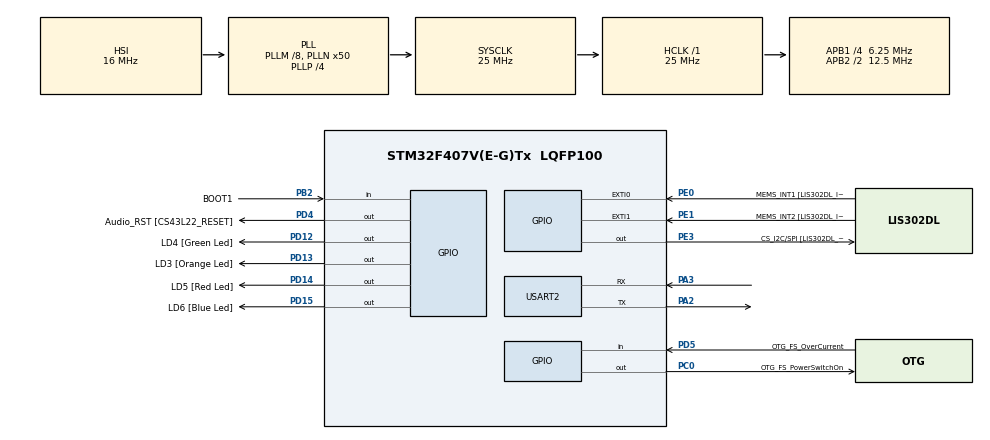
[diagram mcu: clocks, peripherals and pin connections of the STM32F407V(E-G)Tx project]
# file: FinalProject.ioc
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Mcu.Family=STM32F4
Mcu.Name=STM32F407V(E-G)Tx
Mcu.Package=LQFP100
NVIC.PriorityGroup=NVIC_PRIORITYGROUP_0
PA10.GPIO_Label=OTG_FS_ID
PA10.GPIO_Mode=GPIO_MODE_AF_PP
PA10.GPIO_PuPd=GPIO_NOPULL
PA10.GPIO_Speed=GPIO_SPEED_FREQ_LOW
PA10.Signal=USB_OTG_FS_ID
PA11.GPIO_Label=OTG_FS_DM
PA11.GPIO_Mode=GPIO_MODE_AF_PP
PA11.GPIO_PuPd=GPIO_NOPULL
PA11.GPIO_Speed=GPIO_SPEED_FREQ_LOW
PA11.Signal=USB_OTG_FS_DM
PA12.GPIO_Label=OTG_FS_DP
PA12.GPIO_Mode=GPIO_MODE_AF_PP
PA12.GPIO_PuPd=GPIO_NOPULL
PA12.GPIO_Speed=GPIO_SPEED_FREQ_LOW
PA12.Signal=USB_OTG_FS_DP
PA13.GPIO_Label=SWDIO
PA13.Signal=SYS_JTMS-SWDIO
PA14.GPIO_Label=SWCLK
PA14.Signal=SYS_JTCK-SWCLK
PA2.Mode=Asynchronous
PA2.Signal=USART2_TX
PA3.Mode=Asynchronous
PA3.Signal=USART2_RX
PA4.GPIO_Label=I2S3_WS [CS43L22_LRCK]
PA4.GPIO_Mode=GPIO_MODE_AF_PP
PA4.GPIO_PuPd=GPIO_NOPULL
PA4.GPIO_Speed=GPIO_SPEED_FREQ_LOW
PA4.Signal=I2S3_WS
PA5.GPIO_Label=SPI1_SCK [LIS302DL_SCL/SPC]
PA5.GPIO_Mode=GPIO_MODE_AF_PP
PA5.GPIO_PuPd=GPIO_NOPULL
PA5.GPIO_Speed=GPIO_SPEED_FREQ_LOW
PA5.Signal=SPI1_SCK
PA6.GPIO_Label=SPI1_MISO [LIS302DL_SDO]
PA6.GPIO_Mode=GPIO_MODE_AF_PP
PA6.GPIO_PuPd=GPIO_NOPULL
PA6.GPIO_Speed=GPIO_SPEED_FREQ_LOW
PA6.Signal=SPI1_MISO
PA7.GPIO_Label=SPI1_MOSI [LIS302DL_SDA/SDI/SDO]
PA7.GPIO_Mode=GPIO_MODE_AF_PP
PA7.GPIO_PuPd=GPIO_NOPULL
PA7.GPIO_Speed=GPIO_SPEED_FREQ_LOW
PA7.Signal=SPI1_MOSI
PA9.GPIO_Label=VBUS_FS
PA9.GPIO_Mode=GPIO_MODE_INPUT
PA9.GPIO_PuPd=GPIO_NOPULL
PA9.Signal=USB_OTG_FS_VBUS
PB10.GPIO_Label=CLK_IN [MP45DT02_CLK]
PB10.GPIO_Mode=GPIO_MODE_AF_PP
PB10.GPIO_PuPd=GPIO_NOPULL
PB10.GPIO_Speed=GPIO_SPEED_FREQ_LOW
PB10.Signal=I2S2_CK
PB2.GPIO_Label=BOOT1
PB2.GPIO_Mode=GPIO_MODE_INPUT
PB2.GPIO_PuPd=GPIO_NOPULL
PB2.Signal=GPIO_Input
PB3.GPIO_Label=SWO
PB3.Signal=SYS_JTDO-SWO
PB6.GPIO_Label=Audio_SCL [CS43L22_SCL]
PB6.GPIO_Mode=GPIO_MODE_AF_OD
PB6.GPIO_PuPd=GPIO_NOPULL
PB6.GPIO_Speed=GPIO_SPEED_FREQ_LOW
PB6.Signal=I2C1_SCL
PB9.GPIO_Label=Audio_SDA [CS43L22_SDA]
PB9.GPIO_Mode=GPIO_MODE_AF_OD
PB9.GPIO_PuPd=GPIO_NOPULL
PB9.GPIO_Speed=GPIO_SPEED_FREQ_LOW
PB9.Signal=I2C1_SDA
PC0.GPIO_Label=OTG_FS_PowerSwitchOn
PC0.GPIO_PuPd=GPIO_NOPULL
PC0.GPIO_Speed=GPIO_SPEED_FREQ_LOW
PC0.PinState=GPIO_PIN_SET
PC0.Signal=GPIO_Output
PC10.GPIO_Label=I2S3_SCK [CS43L22_SCLK]
PC10.GPIO_Mode=GPIO_MODE_AF_PP
PC10.GPIO_PuPd=GPIO_NOPULL
PC10.GPIO_Speed=GPIO_SPEED_FREQ_LOW
PC10.Signal=I2S3_CK
PC12.GPIO_Label=I2S3_SD [CS43L22_SDIN]
PC12.GPIO_Mode=GPIO_MODE_AF_PP
PC12.GPIO_PuPd=GPIO_NOPULL
PC12.GPIO_Speed=GPIO_SPEED_FREQ_LOW
PC12.Signal=I2S3_SD
PC14-OSC32_IN.GPIO_Label=PC14-OSC32_IN
PC14-OSC32_IN.Signal=RCC_OSC32_IN
PC15-OSC32_OUT.GPIO_Label=PC15-OSC32_OUT
PC15-OSC32_OUT.Signal=RCC_OSC32_OUT
PC3.GPIO_Label=PDM_OUT [MP45DT02_DOUT]
PC3.GPIO_Mode=GPIO_MODE_AF_PP
PC3.GPIO_PuPd=GPIO_NOPULL
PC3.GPIO_Speed=GPIO_SPEED_FREQ_LOW
PC3.Signal=I2S2_SD
PC7.GPIO_Label=I2S3_MCK [CS43L22_MCLK]
PC7.GPIO_Mode=GPIO_MODE_AF_PP
PC7.GPIO_PuPd=GPIO_NOPULL
PC7.GPIO_Speed=GPIO_SPEED_FREQ_LOW
PC7.Signal=I2S3_MCK
PD12.GPIO_Label=LD4 [Green Led]
PD12.GPIO_PuPd=GPIO_NOPULL
PD12.GPIO_Speed=GPIO_SPEED_FREQ_LOW
PD12.Signal=GPIO_Output
PD13.GPIO_Label=LD3 [Orange Led]
PD13.GPIO_PuPd=GPIO_NOPULL
PD13.GPIO_Speed=GPIO_SPEED_FREQ_LOW
PD13.Signal=GPIO_Output
PD14.GPIO_Label=LD5 [Red Led]
PD14.GPIO_PuPd=GPIO_NOPULL
PD14.GPIO_Speed=GPIO_SPEED_FREQ_LOW
PD14.Signal=GPIO_Output
PD15.GPIO_Label=LD6 [Blue Led]
PD15.GPIO_PuPd=GPIO_NOPULL
PD15.GPIO_Speed=GPIO_SPEED_FREQ_LOW
PD15.Signal=GPIO_Output
PD4.GPIO_Label=Audio_RST [CS43L22_RESET]
PD4.GPIO_PuPd=GPIO_NOPULL
PD4.GPIO_Speed=GPIO_SPEED_FREQ_LOW
PD4.Signal=GPIO_Output
PD5.GPIO_Label=OTG_FS_OverCurrent
PD5.GPIO_Mode=GPIO_MODE_INPUT
PD5.GPIO_PuPd=GPIO_NOPULL
PD5.Signal=GPIO_Input
PE0.GPIO_Label=MEMS_INT1 [LIS302DL_INT1]
PE0.Signal=GPXTI0
PE1.GPIO_Label=MEMS_INT2 [LIS302DL_INT2]
PE1.GPIO_ModeDefaultEXTI=GPIO_MODE_EVT_RISING
PE1.GPIO_PuPd=GPIO_NOPULL
PE1.Signal=GPXTI1
PE3.GPIO_Label=CS_I2C/SPI [LIS302DL_CS_I2C/SPI]
PE3.GPIO_PuPd=GPIO_NOPULL
PE3.GPIO_Speed=GPIO_SPEED_FREQ_LOW
PE3.Signal=GPIO_Output
PH0-OSC_IN.GPIO_Label=PH0-OSC_IN
PH0-OSC_IN.Signal=RCC_OSC_IN
PH1-OSC_OUT.GPIO_Label=PH1-OSC_OUT
PH1-OSC_OUT.Signal=RCC_OSC_OUT
ProjectManager.HeapSize=0x200
ProjectManager.StackSize=0x400
ProjectManager.TargetToolchain=SW4STM32
RCC.48MHZClocksFreq_Value=14285714.285714285
RCC.AHBFreq_Value=25000000
RCC.APB1CLKDivider=RCC_HCLK_DIV4
RCC.APB1Freq_Value=6250000
RCC.APB1TimFreq_Value=12500000
RCC.APB2CLKDivider=RCC_HCLK_DIV2
RCC.APB2Freq_Value=12500000
RCC.APB2TimFreq_Value=25000000
RCC.CortexFreq_Value=25000000
RCC.HCLKFreq_Value=25000000
RCC.HSE_VALUE=8000000
RCC.HSI_VALUE=16000000
RCC.LSE_VALUE=32768
RCC.PLLM=8
RCC.PLLN=50
RCC.PLLP=RCC_PLLP_DIV4
RCC.PLLQ=7
RCC.SYSCLKFreq_VALUE=25000000
RCC.SYSCLKSource=RCC_SYSCLKSOURCE_PLLCLK
RCC.VCOOutputFreq_Value=100000000
board=STM32F407G-DISC1

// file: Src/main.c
/**
  ******************************************************************************
  * File Name          : main.c
  * Description        : Main program body
  ******************************************************************************
  *
  * COPYRIGHT(c) 2016 STMicroelectronics
  *
  * Redistribution and use in source and binary forms, with or without modification,
  * are permitted provided that the following conditions are met:
  *   1. Redistributions of source code must retain the above copyright notice,
  *      this list of conditions and the following disclaimer.
  *   2. Redistributions in binary form must reproduce the above copyright notice,
  *      this list of conditions and the following disclaimer in the documentation
  *      and/or other materials provided with the distribution.
  *   3. Neither the name of STMicroelectronics nor the names of its contributors
  *      may be used to endorse or promote products derived from this software
  *      without specific prior written permission.
  *
  * THIS SOFTWARE IS PROVIDED BY THE COPYRIGHT HOLDERS AND CONTRIBUTORS "AS IS"
  * AND ANY EXPRESS OR IMPLIED WARRANTIES, INCLUDING, BUT NOT LIMITED TO, THE
  * IMPLIED WARRANTIES OF MERCHANTABILITY AND FITNESS FOR A PARTICULAR PURPOSE ARE
  * DISCLAIMED. IN NO EVENT SHALL THE COPYRIGHT HOLDER OR CONTRIBUTORS BE LIABLE
  * FOR ANY DIRECT, INDIRECT, INCIDENTAL, SPECIAL, EXEMPLARY, OR CONSEQUENTIAL
  * DAMAGES (INCLUDING, BUT NOT LIMITED TO, PROCUREMENT OF SUBSTITUTE GOODS OR
  * SERVICES; LOSS OF USE, DATA, OR PROFITS; OR BUSINESS INTERRUPTION) HOWEVER
  * CAUSED AND ON ANY THEORY OF LIABILITY, WHETHER IN CONTRACT, STRICT LIABILITY,
  * OR TORT (INCLUDING NEGLIGENCE OR OTHERWISE) ARISING IN ANY WAY OUT OF THE USE
  * OF THIS SOFTWARE, EVEN IF ADVISED OF THE POSSIBILITY OF SUCH DAMAGE.
  *
  ******************************************************************************
  */
#include "stm32f4xx_hal.h"

/* USER CODE BEGIN Includes */
#define Left 1
#define Right 2
#define Up 3
#define Down 4
#define X_SIZE 24
#define Y_SIZE 80
#define Bar 1
#define BarMoveLeft 1
#define BarMoveRight 2
#define BarStay 0
#define BarL 15
/* USER CODE END Includes */

UART_HandleTypeDef huart2;

/* USER CODE BEGIN PV */
/* Private variables ---------------------------------------------------------*/

/* USER CODE END PV */

void SystemClock_Config(void);
void Error_Handler(void);
static void MX_GPIO_Init(void);
static void MX_USART2_UART_Init(void);

/* USER CODE BEGIN PFP */
/* Private function prototypes -----------------------------------------------*/

/* USER CODE END PFP */

/* USER CODE BEGIN 0 */
typedef struct{
	uint8_t x,y,type,move;
}moveable_obj;
uint8_t map[X_SIZE][Y_SIZE+2];
moveable_obj entityList[10];
uint8_t n_obj =0;
void go(uint8_t direction){
	uint8_t data[5] ;
	data[0] = 27;
	data[1] = 91;
	data[2] = 'A';
	switch(direction){
	case Left:
		data[2]='D';
		break;
	case Right :
		data[2] = 'C';
		break;
	case Up:
		data[2] = 'A';
		break;
	case Down:
		data[2] = 'B';
		break;
	}
	HAL_UART_Transmit(&huart2,data , 3, 1000);
}

void initMap(){
	int i=0,j=0;
	for(i=0;i<X_SIZE;i++){
		for(j=0;j<Y_SIZE;j++){
			map[i][j]=' ';
		}
		map[i][j]='\n';
		map[i][j+1]='\r';
	}
	i = 21;
	for(j=0;j<BarL;j++){
		map[i][j]='=';
	}
	n_obj=1;
	entityList[0].move=BarStay;
	entityList[0].x=21;
	entityList[0].y=0;
	entityList[0].type = Bar;
}

void updateMap(){
	int i;
	for(i=0;i<n_obj;i++){
		uint8_t type = entityList[i].type;
		uint8_t* move = &entityList[i].move;
		uint8_t* x = &entityList[i].x;
		uint8_t* y = &entityList[i].y;
		switch(type){
		case Bar:
			if(*move == BarMoveLeft){
				if((*y)>0)
				{
					map[*x][(*y)+BarL-1]=' ';
					(*y)--;
					map[*x][*y]='=';
				}
				*move = BarStay;
			}
			else if(*move == BarMoveRight){
				if((*y)+BarL-1<Y_SIZE)
				{
					map[*x][(*y)]=' ';
					(*y)++;
					map[*x][(*y)+BarL-1]='=';
				}
				*move = BarStay;
			}
			break;
		}
	}
}

void updateDisplay(){
	int i,j;
	for(i=0;i<X_SIZE;i++){
		go(Up);
	}
	for(i=0;i<Y_SIZE;i++){
		go(Left);
	}
	for(i=0;i<X_SIZE;i++){
		HAL_UART_Transmit(&huart2,map[i],Y_SIZE,10000);
		if(i!=X_SIZE-1)HAL_UART_Transmit(&huart2,"\n\r",2,10000);
	}
}

/* USER CODE END 0 */

int main(void)
{

  /* MCU Configuration----------------------------------------------------------*/

  /* Reset of all peripherals, Initializes the Flash interface and the Systick. */
  HAL_Init();

  /* Configure the system clock */
  SystemClock_Config();

  /* Initialize all configured peripherals */
  MX_GPIO_Init();
  MX_USART2_UART_Init();
  initMap();
  /* USER CODE BEGIN 2 */
  uint8_t data;

  /* USER CODE END 2 */

  /* Infinite loop */
  while (1)
  {
	  if(HAL_UART_Receive(&huart2,&data,1,100)== HAL_OK){
		  if(data == 'a'){
			  entityList[0].move = BarMoveLeft;
		  }
		  else if(data == 'd'){
			  entityList[0].move = BarMoveRight;
		  }
		  data = '\0';
	  }
	  updateMap();
	  updateDisplay();
  }

}

/** System Clock Configuration
*/
void SystemClock_Config(void)
{

  RCC_OscInitTypeDef RCC_OscInitStruct;
  RCC_ClkInitTypeDef RCC_ClkInitStruct;

  __HAL_RCC_PWR_CLK_ENABLE();

  __HAL_PWR_VOLTAGESCALING_CONFIG(PWR_REGULATOR_VOLTAGE_SCALE1);

  RCC_OscInitStruct.OscillatorType = RCC_OSCILLATORTYPE_HSI;
  RCC_OscInitStruct.HSIState = RCC_HSI_ON;
  RCC_OscInitStruct.HSICalibrationValue = 16;
  RCC_OscInitStruct.PLL.PLLState = RCC_PLL_ON;
  RCC_OscInitStruct.PLL.PLLSource = RCC_PLLSOURCE_HSI;
  RCC_OscInitStruct.PLL.PLLM = 8;
  RCC_OscInitStruct.PLL.PLLN = 50;
  RCC_OscInitStruct.PLL.PLLP = RCC_PLLP_DIV4;
  RCC_OscInitStruct.PLL.PLLQ = 7;
  if (HAL_RCC_OscConfig(&RCC_OscInitStruct) != HAL_OK)
  {
    Error_Handler();
  }

  RCC_ClkInitStruct.ClockType = RCC_CLOCKTYPE_HCLK|RCC_CLOCKTYPE_SYSCLK
                              |RCC_CLOCKTYPE_PCLK1|RCC_CLOCKTYPE_PCLK2;
  RCC_ClkInitStruct.SYSCLKSource = RCC_SYSCLKSOURCE_PLLCLK;
  RCC_ClkInitStruct.AHBCLKDivider = RCC_SYSCLK_DIV1;
  RCC_ClkInitStruct.APB1CLKDivider = RCC_HCLK_DIV4;
  RCC_ClkInitStruct.APB2CLKDivider = RCC_HCLK_DIV2;
  if (HAL_RCC_ClockConfig(&RCC_ClkInitStruct, FLASH_LATENCY_0) != HAL_OK)
  {
    Error_Handler();
  }

  HAL_SYSTICK_Config(HAL_RCC_GetHCLKFreq()/1000);

  HAL_SYSTICK_CLKSourceConfig(SYSTICK_CLKSOURCE_HCLK);

  /* SysTick_IRQn interrupt configuration */
  HAL_NVIC_SetPriority(SysTick_IRQn, 0, 0);
}

/* USART2 init function */
static void MX_USART2_UART_Init(void)
{

  huart2.Instance = USART2;
  huart2.Init.BaudRate = 115200;
  huart2.Init.WordLength = UART_WORDLENGTH_8B;
  huart2.Init.StopBits = UART_STOPBITS_1;
  huart2.Init.Parity = UART_PARITY_NONE;
  huart2.Init.Mode = UART_MODE_TX_RX;
  huart2.Init.HwFlowCtl = UART_HWCONTROL_NONE;
  huart2.Init.OverSampling = UART_OVERSAMPLING_16;
  if (HAL_UART_Init(&huart2) != HAL_OK)
  {
    Error_Handler();
  }

}

/** Configure pins as
        * Analog
        * Input
        * Output
        * EVENT_OUT
        * EXTI
     PC3   ------> I2S2_SD
     PA4   ------> I2S3_WS
     PA5   ------> SPI1_SCK
     PA6   ------> SPI1_MISO
     PA7   ------> SPI1_MOSI
     PB10   ------> I2S2_CK
     PC7   ------> I2S3_MCK
     PA9   ------> USB_OTG_FS_VBUS
     PA10   ------> USB_OTG_FS_ID
     PA11   ------> USB_OTG_FS_DM
     PA12   ------> USB_OTG_FS_DP
     PC10   ------> I2S3_CK
     PC12   ------> I2S3_SD
     PB6   ------> I2C1_SCL
     PB9   ------> I2C1_SDA
*/
static void MX_GPIO_Init(void)
{

  GPIO_InitTypeDef GPIO_InitStruct;

  /* GPIO Ports Clock Enable */
  __HAL_RCC_GPIOE_CLK_ENABLE();
  __HAL_RCC_GPIOC_CLK_ENABLE();
  __HAL_RCC_GPIOH_CLK_ENABLE();
  __HAL_RCC_GPIOA_CLK_ENABLE();
  __HAL_RCC_GPIOB_CLK_ENABLE();
  __HAL_RCC_GPIOD_CLK_ENABLE();

  /*Configure GPIO pin Output Level */
  HAL_GPIO_WritePin(CS_I2C_SPI_GPIO_Port, CS_I2C_SPI_Pin, GPIO_PIN_RESET);

  /*Configure GPIO pin Output Level */
  HAL_GPIO_WritePin(OTG_FS_PowerSwitchOn_GPIO_Port, OTG_FS_PowerSwitchOn_Pin, GPIO_PIN_SET);

  /*Configure GPIO pin Output Level */
  HAL_GPIO_WritePin(GPIOD, LD4_Pin|LD3_Pin|LD5_Pin|LD6_Pin
                          |Audio_RST_Pin, GPIO_PIN_RESET);

  /*Configure GPIO pin : CS_I2C_SPI_Pin */
  GPIO_InitStruct.Pin = CS_I2C_SPI_Pin;
  GPIO_InitStruct.Mode = GPIO_MODE_OUTPUT_PP;
  GPIO_InitStruct.Pull = GPIO_NOPULL;
  GPIO_InitStruct.Speed = GPIO_SPEED_FREQ_LOW;
  HAL_GPIO_Init(CS_I2C_SPI_GPIO_Port, &GPIO_InitStruct);

  /*Configure GPIO pin : OTG_FS_PowerSwitchOn_Pin */
  GPIO_InitStruct.Pin = OTG_FS_PowerSwitchOn_Pin;
  GPIO_InitStruct.Mode = GPIO_MODE_OUTPUT_PP;
  GPIO_InitStruct.Pull = GPIO_NOPULL;
  GPIO_InitStruct.Speed = GPIO_SPEED_FREQ_LOW;
  HAL_GPIO_Init(OTG_FS_PowerSwitchOn_GPIO_Port, &GPIO_InitStruct);

  /*Configure GPIO pin : PDM_OUT_Pin */
  GPIO_InitStruct.Pin = PDM_OUT_Pin;
  GPIO_InitStruct.Mode = GPIO_MODE_AF_PP;
  GPIO_InitStruct.Pull = GPIO_NOPULL;
  GPIO_InitStruct.Speed = GPIO_SPEED_FREQ_LOW;
  GPIO_InitStruct.Alternate = GPIO_AF5_SPI2;
  HAL_GPIO_Init(PDM_OUT_GPIO_Port, &GPIO_InitStruct);

  /*Configure GPIO pin : PA4 */
  GPIO_InitStruct.Pin = GPIO_PIN_4;
  GPIO_InitStruct.Mode = GPIO_MODE_AF_PP;
  GPIO_InitStruct.Pull = GPIO_NOPULL;
  GPIO_InitStruct.Speed = GPIO_SPEED_FREQ_LOW;
  GPIO_InitStruct.Alternate = GPIO_AF6_SPI3;
  HAL_GPIO_Init(GPIOA, &GPIO_InitStruct);

  /*Configure GPIO pins : PA5 PA6 PA7 */
  GPIO_InitStruct.Pin = GPIO_PIN_5|GPIO_PIN_6|GPIO_PIN_7;
  GPIO_InitStruct.Mode = GPIO_MODE_AF_PP;
  GPIO_InitStruct.Pull = GPIO_NOPULL;
  GPIO_InitStruct.Speed = GPIO_SPEED_FREQ_LOW;
  GPIO_InitStruct.Alternate = GPIO_AF5_SPI1;
  HAL_GPIO_Init(GPIOA, &GPIO_InitStruct);

  /*Configure GPIO pin : BOOT1_Pin */
  GPIO_InitStruct.Pin = BOOT1_Pin;
  GPIO_InitStruct.Mode = GPIO_MODE_INPUT;
  GPIO_InitStruct.Pull = GPIO_NOPULL;
  HAL_GPIO_Init(BOOT1_GPIO_Port, &GPIO_InitStruct);

  /*Configure GPIO pin : CLK_IN_Pin */
  GPIO_InitStruct.Pin = CLK_IN_Pin;
  GPIO_InitStruct.Mode = GPIO_MODE_AF_PP;
  GPIO_InitStruct.Pull = GPIO_NOPULL;
  GPIO_InitStruct.Speed = GPIO_SPEED_FREQ_LOW;
  GPIO_InitStruct.Alternate = GPIO_AF5_SPI2;
  HAL_GPIO_Init(CLK_IN_GPIO_Port, &GPIO_InitStruct);

  /*Configure GPIO pins : LD4_Pin LD3_Pin LD5_Pin LD6_Pin
                           Audio_RST_Pin */
  GPIO_InitStruct.Pin = LD4_Pin|LD3_Pin|LD5_Pin|LD6_Pin
                          |Audio_RST_Pin;
  GPIO_InitStruct.Mode = GPIO_MODE_OUTPUT_PP;
  GPIO_InitStruct.Pull = GPIO_NOPULL;
  GPIO_InitStruct.Speed = GPIO_SPEED_FREQ_LOW;
  HAL_GPIO_Init(GPIOD, &GPIO_InitStruct);

  /*Configure GPIO pins : PC7 I2S3_SCK_Pin PC12 */
  GPIO_InitStruct.Pin = GPIO_PIN_7|I2S3_SCK_Pin|GPIO_PIN_12;
  GPIO_InitStruct.Mode = GPIO_MODE_AF_PP;
  GPIO_InitStruct.Pull = GPIO_NOPULL;
  GPIO_InitStruct.Speed = GPIO_SPEED_FREQ_LOW;
  GPIO_InitStruct.Alternate = GPIO_AF6_SPI3;
  HAL_GPIO_Init(GPIOC, &GPIO_InitStruct);

  /*Configure GPIO pin : VBUS_FS_Pin */
  GPIO_InitStruct.Pin = VBUS_FS_Pin;
  GPIO_InitStruct.Mode = GPIO_MODE_INPUT;
  GPIO_InitStruct.Pull = GPIO_NOPULL;
  HAL_GPIO_Init(VBUS_FS_GPIO_Port, &GPIO_InitStruct);

  /*Configure GPIO pins : OTG_FS_ID_Pin OTG_FS_DM_Pin OTG_FS_DP_Pin */
  GPIO_InitStruct.Pin = OTG_FS_ID_Pin|OTG_FS_DM_Pin|OTG_FS_DP_Pin;
  GPIO_InitStruct.Mode = GPIO_MODE_AF_PP;
  GPIO_InitStruct.Pull = GPIO_NOPULL;
  GPIO_InitStruct.Speed = GPIO_SPEED_FREQ_LOW;
  GPIO_InitStruct.Alternate = GPIO_AF10_OTG_FS;
  HAL_GPIO_Init(GPIOA, &GPIO_InitStruct);

  /*Configure GPIO pin : OTG_FS_OverCurrent_Pin */
  GPIO_InitStruct.Pin = OTG_FS_OverCurrent_Pin;
  GPIO_InitStruct.Mode = GPIO_MODE_INPUT;
  GPIO_InitStruct.Pull = GPIO_NOPULL;
  HAL_GPIO_Init(OTG_FS_OverCurrent_GPIO_Port, &GPIO_InitStruct);

  /*Configure GPIO pins : Audio_SCL_Pin Audio_SDA_Pin */
  GPIO_InitStruct.Pin = Audio_SCL_Pin|Audio_SDA_Pin;
  GPIO_InitStruct.Mode = GPIO_MODE_AF_OD;
  GPIO_InitStruct.Pull = GPIO_PULLUP;
  GPIO_InitStruct.Speed = GPIO_SPEED_FREQ_LOW;
  GPIO_InitStruct.Alternate = GPIO_AF4_I2C1;
  HAL_GPIO_Init(GPIOB, &GPIO_InitStruct);

  /*Configure GPIO pin : MEMS_INT1_Pin */
  GPIO_InitStruct.Pin = MEMS_INT1_Pin;
  GPIO_InitStruct.Mode = GPIO_MODE_IT_RISING;
  GPIO_InitStruct.Pull = GPIO_NOPULL;
  HAL_GPIO_Init(MEMS_INT1_GPIO_Port, &GPIO_InitStruct);

  /*Configure GPIO pin : MEMS_INT2_Pin */
  GPIO_InitStruct.Pin = MEMS_INT2_Pin;
  GPIO_InitStruct.Mode = GPIO_MODE_EVT_RISING;
  GPIO_InitStruct.Pull = GPIO_NOPULL;
  HAL_GPIO_Init(MEMS_INT2_GPIO_Port, &GPIO_InitStruct);

}

void Error_Handler(void)
{
  while(1)
  {
  }
}

/************************ (C) COPYRIGHT STMicroelectronics *****END OF FILE****/
